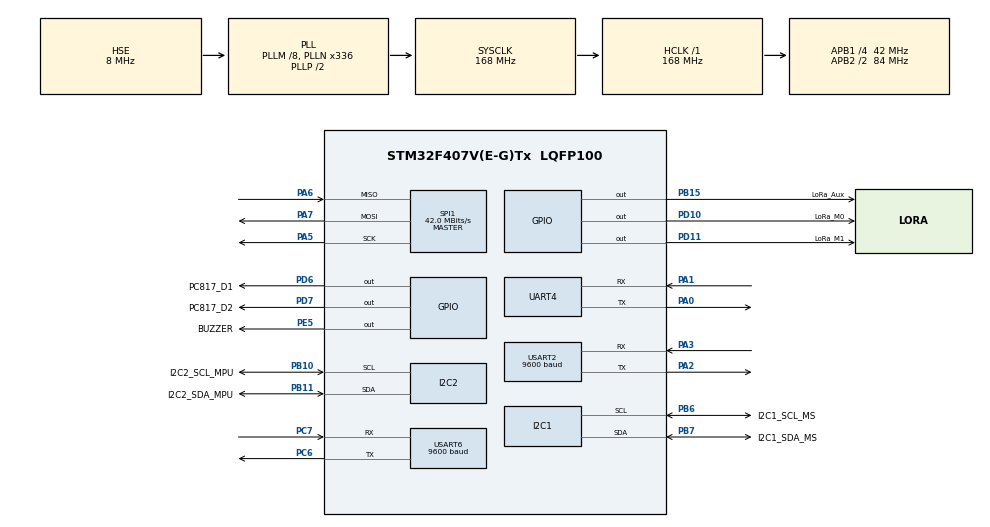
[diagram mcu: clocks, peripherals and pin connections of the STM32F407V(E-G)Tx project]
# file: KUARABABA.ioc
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Mcu.Family=STM32F4
Mcu.Name=STM32F407V(E-G)Tx
Mcu.Package=LQFP100
NVIC.PriorityGroup=NVIC_PRIORITYGROUP_4
NVIC.TIM1_UP_TIM10_IRQn=true\:15\:0\:false\:false\:true\:false\:true\:true
NVIC.TimeBase=TIM1_UP_TIM10_IRQn
NVIC.TimeBaseIP=TIM1
NVIC.UART4_IRQn=true\:0\:0\:false\:false\:true\:true\:true\:true
NVIC.USART6_IRQn=true\:0\:0\:false\:false\:true\:true\:true\:true
PA0-WKUP.Mode=Asynchronous
PA0-WKUP.Signal=UART4_TX
PA1.Mode=Asynchronous
PA1.Signal=UART4_RX
PA13.Mode=Serial_Wire
PA13.Signal=SYS_JTMS-SWDIO
PA14.Mode=Serial_Wire
PA14.Signal=SYS_JTCK-SWCLK
PA2.Mode=Asynchronous
PA2.Signal=USART2_TX
PA3.Mode=Asynchronous
PA3.Signal=USART2_RX
PA5.Mode=Full_Duplex_Master
PA5.Signal=SPI1_SCK
PA6.Mode=Full_Duplex_Master
PA6.Signal=SPI1_MISO
PA7.Mode=Full_Duplex_Master
PA7.Signal=SPI1_MOSI
PB10.GPIO_Label=I2C2_SCL_MPU
PB10.Mode=I2C
PB10.Signal=I2C2_SCL
PB11.GPIO_Label=I2C2_SDA_MPU
PB11.Mode=I2C
PB11.Signal=I2C2_SDA
PB15.GPIO_Label=LoRa_Aux
PB15.Signal=GPIO_Output
PB6.GPIO_Label=I2C1_SCL_MS
PB6.Mode=I2C
PB6.Signal=I2C1_SCL
PB7.GPIO_Label=I2C1_SDA_MS
PB7.Mode=I2C
PB7.Signal=I2C1_SDA
PC14-OSC32_IN.Mode=LSE-External-Clock-Source
PC14-OSC32_IN.Signal=RCC_OSC32_IN
PC15-OSC32_OUT.Mode=LSE-External-Clock-Source
PC15-OSC32_OUT.Signal=RCC_OSC32_OUT
PC6.Mode=Asynchronous
PC6.Signal=USART6_TX
PC7.Mode=Asynchronous
PC7.Signal=USART6_RX
PD10.GPIO_Label=LoRa_M0
PD10.Signal=GPIO_Output
PD11.GPIO_Label=LoRa_M1
PD11.Signal=GPIO_Output
PD6.GPIO_Label=PC817_D1
PD6.Signal=GPIO_Output
PD7.GPIO_Label=PC817_D2
PD7.Signal=GPIO_Output
PE5.GPIO_Label=BUZZER
PE5.Signal=GPIO_Output
PH0-OSC_IN.Mode=HSE-External-Oscillator
PH0-OSC_IN.Signal=RCC_OSC_IN
PH1-OSC_OUT.Mode=HSE-External-Oscillator
PH1-OSC_OUT.Signal=RCC_OSC_OUT
ProjectManager.HeapSize=0x200
ProjectManager.StackSize=0x400
ProjectManager.TargetToolchain=STM32CubeIDE
RCC.48MHZClocksFreq_Value=84000000
RCC.AHBFreq_Value=168000000
RCC.APB1CLKDivider=RCC_HCLK_DIV4
RCC.APB1Freq_Value=42000000
RCC.APB1TimFreq_Value=84000000
RCC.APB2CLKDivider=RCC_HCLK_DIV2
RCC.APB2Freq_Value=84000000
RCC.APB2TimFreq_Value=168000000
RCC.CortexFreq_Value=168000000
RCC.EnbaleCSS=true
RCC.HCLKFreq_Value=168000000
RCC.HSE_VALUE=8000000
RCC.HSI_VALUE=16000000
RCC.LSE_VALUE=32768
RCC.PLLM=8
RCC.PLLN=336
RCC.PLLSourceVirtual=RCC_PLLSOURCE_HSE
RCC.SYSCLKFreq_VALUE=168000000
RCC.SYSCLKSource=RCC_SYSCLKSOURCE_PLLCLK
RCC.VCOOutputFreq_Value=336000000
SPI1.CalculateBaudRate=42.0 MBits/s
SPI1.Direction=SPI_DIRECTION_2LINES
SPI1.Mode=SPI_MODE_MASTER
SPI1.VirtualType=VM_MASTER
UART4.VirtualMode=Asynchronous
USART2.BaudRate=9600
USART2.VirtualMode=VM_ASYNC
USART6.BaudRate=9600
USART6.VirtualMode=VM_ASYNC
VP_SYS_VS_tim1.Mode=TIM1
board=custom

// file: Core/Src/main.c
/* USER CODE BEGIN Header */
/**
  **************************
  * @file           : main.c
  * @brief          : Main program body
  **************************
  * @attention
  *
  * Copyright (c) 2025 STMicroelectronics.
  * All rights reserved.
  *
  * This software is licensed under terms that can be found in the LICENSE file
  * in the root directory of this software component.
  * If no LICENSE file comes with this software, it is provided AS-IS.
  *
  **************************
  */

/***************************************
I2C1 	- MS5611
I2C2 	- MPU9250
USART6 	- GPS
PD6 	- APOGEE TETİKLEME
PD7 	- MAIN TETİKLEME
 ***************************************/

/* USER CODE END Header */
#include "main.h"

/* USER CODE BEGIN Includes */
#include <stdio.h>
#include "string.h"
#include "ms5611.h"
#include "mpu9255.h"
#include "lwgps/lwgps.h"
/* USER CODE END Includes */

/* USER CODE BEGIN PD */
#define MS5611_I2C_ADDRESS_H 0xEE		/*! CSB pin is HIGH */
#define MS5611_I2C_ADDRESS_L 0xEC 		/*! CSB pin is LOW */
#define RAD_TO_DEG 57.295779513f

/* USER CODE END PD */

I2C_HandleTypeDef hi2c1;
I2C_HandleTypeDef hi2c2;

SPI_HandleTypeDef hspi1;

UART_HandleTypeDef huart4;
UART_HandleTypeDef huart2;
UART_HandleTypeDef huart6;

/* USER CODE BEGIN PV */
float MS5611_Press, MS5611_Altitude, MS5611_Temp;
float baslangic_irtifa, irtifa, onceki_irtifa;
float angX, angY,angZ, accX, accY, accZ, gyroX, gyroY, gyroZ;
float enlem, boylam, gps_irtifa, yunuslama;
int rocket_state;
volatile int calisma_durumu = 0;
volatile int dinleme_durumu = 0;
bool ilk_irtifa = false;
char gonderilecek_veri[128];
MPU9255_t DataStruct;
MS5611_HandleTypeDef MS5611;
uint32_t lastTick = 0;

MPU9255_t DataStruct;
MS5611_HandleTypeDef MS5611;

/* USER CODE END PV */

void SystemClock_Config(void);
static void MX_GPIO_Init(void);
static void MX_I2C1_Init(void);
static void MX_I2C2_Init(void);
static void MX_UART4_Init(void);
static void MX_USART2_UART_Init(void);
static void MX_USART6_UART_Init(void);
static void MX_SPI1_Init(void);

/* USER CODE BEGIN 0 */

lwgps_t gps;

uint8_t rx_buffer[128];
uint8_t rx_index = 0;
uint8_t rx_data = 0;
uint8_t test_buffer[5];
uint8_t test_index = 0;
uint8_t test_data = 0;
uint8_t sut_buffer[36];
uint8_t sut_index = 0;
uint8_t veri[36];

uint8_t b7=0,b6=0,b5=0,b4=0,b3=0,b2=0,b1=0,b0=0;
uint8_t sut_byte=0;
uint8_t sut_durum_bilgi[6];

	uint8_t adres_h = 0x00;
	uint8_t adres_l = 0x02;
	uint8_t kanal	= 0x12;

	void HAL_UART_RxCpltCallback(UART_HandleTypeDef *huart)
	{
	    if (huart == &huart6)
	    {
	        if (rx_data != '\n' && rx_index < sizeof(rx_buffer))
	            rx_buffer[rx_index++] = rx_data;
	        else {
	            lwgps_process(&gps, rx_buffer, rx_index + 1);
	            rx_index = 0;
	        }

	        // Sadece huart6 için tekrar alım ayarla
	        HAL_UART_Receive_IT(&huart6, &rx_data, 1);
	    }
	    else if (huart == &huart4)
	    {
	        if (test_index == 0 && sut_index == 0)
	        {
	            if (test_data == 0xAA) dinleme_durumu = 0;
	            else if (test_data == 0xAB) dinleme_durumu = 1;
	        }

	        if (dinleme_durumu == 0)
	        {
	            if (test_data != 0x0A)
	                test_buffer[test_index++] = test_data;
	            else
	            {
	                if (test_buffer[1] == 0x20) { calisma_durumu = 1; dinleme_durumu = 0; }
	                else if (test_buffer[1] == 0x22) { calisma_durumu = 2; dinleme_durumu = 1; }
	                else { calisma_durumu = 0; dinleme_durumu = 0; }
	                test_index = 0;
	            }
	        }
	        else if (dinleme_durumu == 1)
	        {
	            sut_buffer[sut_index] = test_data;
	            sut_index = (sut_index + 1) % 36;
	        }

	        // Sadece huart4 için tekrar alım ayarla
	        HAL_UART_Receive_IT(&huart4, &test_data, 1);
	    }
	}

	float Calculate_Altitude(float pressure_mbar) {
	    return 44330.0f * (1.0f - pow((pressure_mbar * 100.0f / 101325.0f), 1.0f / 5.255f));
	}

	float Calculate_Pitch(float accX, float accY, float accZ) {
	    return atan2f(accX, sqrtf(accY * accY + accZ * accZ)) * 180.0f / M_PI;
	}

	void floatToBigEndian(uint8_t *d,float v){
	    float r=((int)(v*100.0f))/100.0f;
	    union{float f;uint8_t b[4];}u;u.f=r;
	    d[0]=u.b[3];d[1]=u.b[2];d[2]=u.b[1];d[3]=u.b[0];
	}

	float bigEndianToFloat(uint8_t *d)
	{
	    union { float f; uint8_t b[4]; } u;
	    // Big endian gelen veriyi ters çeviriyoruz
	    u.b[0] = d[3];
	    u.b[1] = d[2];
	    u.b[2] = d[1];
	    u.b[3] = d[0];
	    return u.f;
	}

	void transmit_SIT_packet(float irtifa, float press, float accX, float accY, float accZ,
	                         float gyroX, float gyroY, float gyroZ) {

	    veri[0] = 0xAB;

	    floatToBigEndian(&veri[1],  irtifa);
	    floatToBigEndian(&veri[5],  press);
	    floatToBigEndian(&veri[9],  accX);
	    floatToBigEndian(&veri[13], accY);
	    floatToBigEndian(&veri[17], accZ);
	    floatToBigEndian(&veri[21], gyroX);
	    floatToBigEndian(&veri[25], gyroY);
	    floatToBigEndian(&veri[29], gyroZ);

	    uint8_t checksum = 0;
	    for (int i = 0; i <= 32; i++) {
	        checksum += veri[i];
	    }
	    checksum &= 0xFF;

	    veri[33] = checksum;
	    veri[34] = 0x0D;
	    veri[35] = 0x0A;

	    HAL_UART_Transmit(&huart4, veri, sizeof(veri), HAL_MAX_DELAY);
	}

/* USER CODE END 0 */

int main(void)
{

  /* MCU Configuration--------------------------------------------------------*/

  /* Reset of all peripherals, Initializes the Flash interface and the Systick. */
  HAL_Init();

  /* Configure the system clock */
  SystemClock_Config();

  /* Initialize all configured peripherals */
  MX_GPIO_Init();
  MX_I2C1_Init();
  MX_I2C2_Init();
  MX_UART4_Init();
  MX_USART2_UART_Init();
  MX_USART6_UART_Init();
  MX_SPI1_Init();
  /* USER CODE BEGIN 2 */

  lastTick = HAL_GetTick();

HAL_GPIO_WritePin(GPIOD, LoRa_M0_Pin, GPIO_PIN_RESET); // M0 = 0
HAL_GPIO_WritePin(GPIOD, LoRa_M1_Pin, GPIO_PIN_RESET); // M1 = 0
HAL_Delay(50); // Modülün moda geçmesini bekle

lwgps_init(&gps);
HAL_UART_Receive_IT(&huart6, &rx_data, 1);
HAL_UART_Receive_IT(&huart4, &test_data, 1);

#ifdef MS5611_H_
MS5611.I2C_ADDRESS = MS5611_I2C_ADDRESS_H;
MS5611.i2c = &hi2c1;
MS5611_Init(&MS5611);
#endif

rocket_state = 0;

MS5611_Read_ActVal(&MS5611);
MS5611_FirstCalculateDatas(&MS5611);
MPU9255_Init(&hi2c2);

baslangic_irtifa = 44330 * (1 - pow((MS5611_Press * 100 / 101325), (1 / 5.255)));

  /* USER CODE END 2 */

  /* Infinite loop */
  /* USER CODE BEGIN WHILE */
while (1)
{

	if (HAL_GetTick() - lastTick >= 100)
	{
	// calışma moduna uygun veri alımının belirlenmesi
	lastTick = HAL_GetTick();
	        if ((calisma_durumu == 0) || (calisma_durumu == 1))
	        {
	            MS5611_Read_ActVal(&MS5611);
	            MS5611_FirstCalculateDatas(&MS5611);
	            MPU9255_Read_All(&hi2c2,&DataStruct);

              float roll_rad = DataStruct.KalmanAngleX * (M_PI / 180.0f);
              float pitch_rad = DataStruct.KalmanAngleY * (M_PI / 180.0f);

              float mag_x_comp = DataStruct.Mx * cos(pitch_rad) + DataStruct.My * sin(pitch_rad) * sin(roll_rad) + DataStruct.Mz * sin(pitch_rad) * cos(roll_rad);
              float mag_y_comp = DataStruct.My * cos(roll_rad) - DataStruct.Mz * sin(roll_rad);

              float yaw_angle = atan2f(mag_y_comp, mag_x_comp) * RAD_TO_DEG;

	            angX=DataStruct.KalmanAngleX; angY=DataStruct.KalmanAngleY; angZ=yaw_angle;
	            accX=DataStruct.Ax; accY=DataStruct.Ay; accZ=DataStruct.Az;
	            gyroX=DataStruct.Gx; gyroY=DataStruct.Gy; gyroZ=DataStruct.Gz;
	            enlem=gps.latitude; boylam=gps.longitude; gps_irtifa=gps.altitude;

	            irtifa=Calculate_Altitude(MS5611_Press);
	            yunuslama=Calculate_Pitch(accX,accY,accZ);
	        }
	        else if (calisma_durumu == 2)
	                {

	        		  irtifa       = bigEndianToFloat(&sut_buffer[1]);
	        	    MS5611_Press = bigEndianToFloat(&sut_buffer[5]);
	        	    accX         = bigEndianToFloat(&sut_buffer[9]);
	        	    accY         = bigEndianToFloat(&sut_buffer[13]);
	        	    accZ         = bigEndianToFloat(&sut_buffer[17]);
	        	    gyroX        = bigEndianToFloat(&sut_buffer[21]);
	        	    gyroY        = bigEndianToFloat(&sut_buffer[25]);
	        	    gyroZ        = bigEndianToFloat(&sut_buffer[29]);

                      if(ilk_irtifa == false){
                        baslangic_irtifa =irtifa;
                        ilk_irtifa = true;
                      }

	                    yunuslama=Calculate_Pitch(accX,accY,accZ);

	                    if ((irtifa-baslangic_irtifa)>5){b0=1;}
	                    if ((b0==1)&&(accZ<0)){b1=1;}
	                    if (irtifa>2000){b2=1;}
	                    if (gyroY>50||gyroY<-60){b3=1;}
	                    if (((onceki_irtifa-irtifa)>0)&&(b3==1)){b4=1;}
	                    if ((b1==1)&&(b4==1)&&(b3 == 1)){b5=1;HAL_GPIO_WritePin(GPIOD, GPIO_PIN_6, SET);}
	                    if ((irtifa<600)&&(b5==1)){b6=1;}
	                    if ((b6==1)&&(irtifa<600 )&& (irtifa>400)){b7=1; HAL_GPIO_WritePin(GPIOD, GPIO_PIN_7, SET);}
	                    sut_byte=(b7<<7)|(b6<<6)|(b5<<5)|(b4<<4)|(b3<<3)|(b2<<2)|(b1<<1)|(b0<<0);
	                    sut_durum_bilgi[0]=0xAA; sut_durum_bilgi[1]=sut_byte; sut_durum_bilgi[2]=0;
	                    uint8_t chk=0; for(int i=1;i<3;i++) chk+=sut_durum_bilgi[i]; chk%=256;
	                    sut_durum_bilgi[3]=chk; sut_durum_bilgi[4]=0x0D; sut_durum_bilgi[5]=0x0A;
                      HAL_UART_Transmit(&huart4, &sut_durum_bilgi, sizeof(sut_durum_bilgi), HAL_MAX_DELAY);

                      onceki_irtifa = irtifa;

	                }

	if (calisma_durumu == 1) {
	    transmit_SIT_packet(irtifa, MS5611_Press, accX, accY, accZ, angX, angY, angZ);
	}

	  else if (calisma_durumu == 0) {
		  if ((irtifa - baslangic_irtifa > 10) && rocket_state == 0) {
			  rocket_state = 1;
		  }

		  if ((rocket_state == 1) && ((onceki_irtifa - irtifa) > 1) && (yunuslama > 60.0 || yunuslama < -60.0)) {
			  rocket_state = 2;
			  HAL_GPIO_WritePin(GPIOD, GPIO_PIN_6, SET);

		  }

		  if ((rocket_state == 2) && (irtifa < 600 || irtifa > 400)) {
			  rocket_state = 3;
			  HAL_GPIO_WritePin(GPIOD, GPIO_PIN_7, SET);

		  }

		  if ((rocket_state == 3) && (irtifa == onceki_irtifa)) {
			  rocket_state = 4;

		  }

		  snprintf(gonderilecek_veri, sizeof(gonderilecek_veri), "$AA,%.0f,%.3f,%.3f,%.0f,%.2f,%.1f,%.1f,%.2f,%.2f,%.1f,%.2f,%d"
		  , irtifa, enlem, boylam, gps_irtifa, gyroX, gyroY, gyroZ, accX, accY, accZ
		  , yunuslama, rocket_state);

		  HAL_UART_Transmit(&huart2, &adres_h, sizeof(adres_h), HAL_MAX_DELAY);
		  HAL_UART_Transmit(&huart2, &adres_l, sizeof(adres_l), HAL_MAX_DELAY);
		  HAL_UART_Transmit(&huart2, &kanal, sizeof(kanal), HAL_MAX_DELAY);
		  HAL_UART_Transmit(&huart2, (uint8_t*)gonderilecek_veri, strlen(gonderilecek_veri), HAL_MAX_DELAY);

		  onceki_irtifa = irtifa;
	  }
	  }
    /* USER CODE END WHILE */

  }
}

void SystemClock_Config(void)
{
  RCC_OscInitTypeDef RCC_OscInitStruct = {0};
  RCC_ClkInitTypeDef RCC_ClkInitStruct = {0};

  /** Configure the main internal regulator output voltage
  */
  __HAL_RCC_PWR_CLK_ENABLE();
  __HAL_PWR_VOLTAGESCALING_CONFIG(PWR_REGULATOR_VOLTAGE_SCALE1);

  /** Initializes the RCC Oscillators according to the specified parameters
  * in the RCC_OscInitTypeDef structure.
  */
  RCC_OscInitStruct.OscillatorType = RCC_OSCILLATORTYPE_HSE;
  RCC_OscInitStruct.HSEState = RCC_HSE_ON;
  RCC_OscInitStruct.PLL.PLLState = RCC_PLL_ON;
  RCC_OscInitStruct.PLL.PLLSource = RCC_PLLSOURCE_HSE;
  RCC_OscInitStruct.PLL.PLLM = 8;
  RCC_OscInitStruct.PLL.PLLN = 336;
  RCC_OscInitStruct.PLL.PLLP = RCC_PLLP_DIV2;
  RCC_OscInitStruct.PLL.PLLQ = 4;
  if (HAL_RCC_OscConfig(&RCC_OscInitStruct) != HAL_OK)
  {
    Error_Handler();
  }

  /** Initializes the CPU, AHB and APB buses clocks
  */
  RCC_ClkInitStruct.ClockType = RCC_CLOCKTYPE_HCLK|RCC_CLOCKTYPE_SYSCLK
                              |RCC_CLOCKTYPE_PCLK1|RCC_CLOCKTYPE_PCLK2;
  RCC_ClkInitStruct.SYSCLKSource = RCC_SYSCLKSOURCE_PLLCLK;
  RCC_ClkInitStruct.AHBCLKDivider = RCC_SYSCLK_DIV1;
  RCC_ClkInitStruct.APB1CLKDivider = RCC_HCLK_DIV4;
  RCC_ClkInitStruct.APB2CLKDivider = RCC_HCLK_DIV2;

  if (HAL_RCC_ClockConfig(&RCC_ClkInitStruct, FLASH_LATENCY_5) != HAL_OK)
  {
    Error_Handler();
  }

  /** Enables the Clock Security System
  */
  HAL_RCC_EnableCSS();
}

static void MX_I2C1_Init(void)
{

  hi2c1.Instance = I2C1;
  hi2c1.Init.ClockSpeed = 100000;
  hi2c1.Init.DutyCycle = I2C_DUTYCYCLE_2;
  hi2c1.Init.OwnAddress1 = 0;
  hi2c1.Init.AddressingMode = I2C_ADDRESSINGMODE_7BIT;
  hi2c1.Init.DualAddressMode = I2C_DUALADDRESS_DISABLE;
  hi2c1.Init.OwnAddress2 = 0;
  hi2c1.Init.GeneralCallMode = I2C_GENERALCALL_DISABLE;
  hi2c1.Init.NoStretchMode = I2C_NOSTRETCH_DISABLE;
  if (HAL_I2C_Init(&hi2c1) != HAL_OK)
  {
    Error_Handler();
  }

}

static void MX_I2C2_Init(void)
{

  hi2c2.Instance = I2C2;
  hi2c2.Init.ClockSpeed = 100000;
  hi2c2.Init.DutyCycle = I2C_DUTYCYCLE_2;
  hi2c2.Init.OwnAddress1 = 0;
  hi2c2.Init.AddressingMode = I2C_ADDRESSINGMODE_7BIT;
  hi2c2.Init.DualAddressMode = I2C_DUALADDRESS_DISABLE;
  hi2c2.Init.OwnAddress2 = 0;
  hi2c2.Init.GeneralCallMode = I2C_GENERALCALL_DISABLE;
  hi2c2.Init.NoStretchMode = I2C_NOSTRETCH_DISABLE;
  if (HAL_I2C_Init(&hi2c2) != HAL_OK)
  {
    Error_Handler();
  }

}

static void MX_SPI1_Init(void)
{

  /* SPI1 parameter configuration*/
  hspi1.Instance = SPI1;
  hspi1.Init.Mode = SPI_MODE_MASTER;
  hspi1.Init.Direction = SPI_DIRECTION_2LINES;
  hspi1.Init.DataSize = SPI_DATASIZE_8BIT;
  hspi1.Init.CLKPolarity = SPI_POLARITY_LOW;
  hspi1.Init.CLKPhase = SPI_PHASE_1EDGE;
  hspi1.Init.NSS = SPI_NSS_SOFT;
  hspi1.Init.BaudRatePrescaler = SPI_BAUDRATEPRESCALER_2;
  hspi1.Init.FirstBit = SPI_FIRSTBIT_MSB;
  hspi1.Init.TIMode = SPI_TIMODE_DISABLE;
  hspi1.Init.CRCCalculation = SPI_CRCCALCULATION_DISABLE;
  hspi1.Init.CRCPolynomial = 10;
  if (HAL_SPI_Init(&hspi1) != HAL_OK)
  {
    Error_Handler();
  }

}

static void MX_UART4_Init(void)
{

  huart4.Instance = UART4;
  huart4.Init.BaudRate = 115200;
  huart4.Init.WordLength = UART_WORDLENGTH_8B;
  huart4.Init.StopBits = UART_STOPBITS_1;
  huart4.Init.Parity = UART_PARITY_NONE;
  huart4.Init.Mode = UART_MODE_TX_RX;
  huart4.Init.HwFlowCtl = UART_HWCONTROL_NONE;
  huart4.Init.OverSampling = UART_OVERSAMPLING_16;
  if (HAL_UART_Init(&huart4) != HAL_OK)
  {
    Error_Handler();
  }

}

static void MX_USART2_UART_Init(void)
{

  huart2.Instance = USART2;
  huart2.Init.BaudRate = 9600;
  huart2.Init.WordLength = UART_WORDLENGTH_8B;
  huart2.Init.StopBits = UART_STOPBITS_1;
  huart2.Init.Parity = UART_PARITY_NONE;
  huart2.Init.Mode = UART_MODE_TX_RX;
  huart2.Init.HwFlowCtl = UART_HWCONTROL_NONE;
  huart2.Init.OverSampling = UART_OVERSAMPLING_16;
  if (HAL_UART_Init(&huart2) != HAL_OK)
  {
    Error_Handler();
  }

}

static void MX_USART6_UART_Init(void)
{

  huart6.Instance = USART6;
  huart6.Init.BaudRate = 9600;
  huart6.Init.WordLength = UART_WORDLENGTH_8B;
  huart6.Init.StopBits = UART_STOPBITS_1;
  huart6.Init.Parity = UART_PARITY_NONE;
  huart6.Init.Mode = UART_MODE_TX_RX;
  huart6.Init.HwFlowCtl = UART_HWCONTROL_NONE;
  huart6.Init.OverSampling = UART_OVERSAMPLING_16;
  if (HAL_UART_Init(&huart6) != HAL_OK)
  {
    Error_Handler();
  }

}

static void MX_GPIO_Init(void)
{
  GPIO_InitTypeDef GPIO_InitStruct = {0};

  /* GPIO Ports Clock Enable */
  __HAL_RCC_GPIOE_CLK_ENABLE();
  __HAL_RCC_GPIOC_CLK_ENABLE();
  __HAL_RCC_GPIOH_CLK_ENABLE();
  __HAL_RCC_GPIOA_CLK_ENABLE();
  __HAL_RCC_GPIOB_CLK_ENABLE();
  __HAL_RCC_GPIOD_CLK_ENABLE();

  /*Configure GPIO pin Output Level */
  HAL_GPIO_WritePin(BUZZER_GPIO_Port, BUZZER_Pin, GPIO_PIN_RESET);

  /*Configure GPIO pin Output Level */
  HAL_GPIO_WritePin(LoRa_Aux_GPIO_Port, LoRa_Aux_Pin, GPIO_PIN_RESET);

  /*Configure GPIO pin Output Level */
  HAL_GPIO_WritePin(GPIOD, LoRa_M0_Pin|LoRa_M1_Pin|PC817_D1_Pin|PC817_D2_Pin, GPIO_PIN_RESET);

  /*Configure GPIO pin : BUZZER_Pin */
  GPIO_InitStruct.Pin = BUZZER_Pin;
  GPIO_InitStruct.Mode = GPIO_MODE_OUTPUT_PP;
  GPIO_InitStruct.Pull = GPIO_NOPULL;
  GPIO_InitStruct.Speed = GPIO_SPEED_FREQ_LOW;
  HAL_GPIO_Init(BUZZER_GPIO_Port, &GPIO_InitStruct);

  /*Configure GPIO pin : LoRa_Aux_Pin */
  GPIO_InitStruct.Pin = LoRa_Aux_Pin;
  GPIO_InitStruct.Mode = GPIO_MODE_OUTPUT_PP;
  GPIO_InitStruct.Pull = GPIO_NOPULL;
  GPIO_InitStruct.Speed = GPIO_SPEED_FREQ_LOW;
  HAL_GPIO_Init(LoRa_Aux_GPIO_Port, &GPIO_InitStruct);

  /*Configure GPIO pins : LoRa_M0_Pin LoRa_M1_Pin PC817_D1_Pin PC817_D2_Pin */
  GPIO_InitStruct.Pin = LoRa_M0_Pin|LoRa_M1_Pin|PC817_D1_Pin|PC817_D2_Pin;
  GPIO_InitStruct.Mode = GPIO_MODE_OUTPUT_PP;
  GPIO_InitStruct.Pull = GPIO_NOPULL;
  GPIO_InitStruct.Speed = GPIO_SPEED_FREQ_LOW;
  HAL_GPIO_Init(GPIOD, &GPIO_InitStruct);

}

void HAL_TIM_PeriodElapsedCallback(TIM_HandleTypeDef *htim)
{
  if (htim->Instance == TIM1)
  {
    HAL_IncTick();
  }
}

void Error_Handler(void)
{
  __disable_irq();
  while (1)
  {
  }
}
